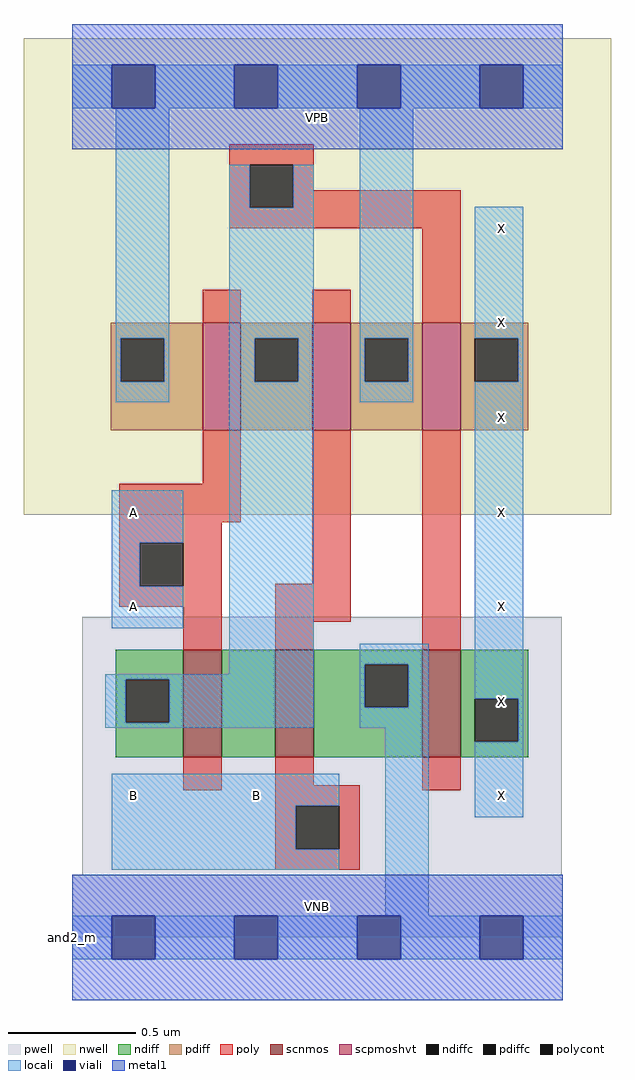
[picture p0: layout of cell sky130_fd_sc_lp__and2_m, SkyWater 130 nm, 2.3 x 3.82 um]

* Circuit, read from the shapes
.subckt sky130_fd_sc_lp__and2_m A B VGND VNB VPB VPWR X
XM1 n1 A n2 VNB sky130_fd_pr__nfet_01v8 w=0.42 l=0.15
XM2 VGND B n1 VNB sky130_fd_pr__nfet_01v8 w=0.42 l=0.15
XM3 X n2 VGND VNB sky130_fd_pr__nfet_01v8 w=0.42 l=0.15
XM4 n2 A VPWR VPB sky130_fd_pr__pfet_01v8_hvt w=0.42 l=0.15
XM5 VPWR B n2 VPB sky130_fd_pr__pfet_01v8_hvt w=0.42 l=0.15
XM6 X n2 VPWR VPB sky130_fd_pr__pfet_01v8_hvt w=0.42 l=0.15
.ends

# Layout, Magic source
magic
tech sky130A
magscale 1 2
<< nwell >>
rect -38 331 422 704
<< pwell >>
rect 8 49 383 251
rect 0 0 384 49
<< scnmos >>
rect 87 141 117 225
rect 159 141 189 225
rect 274 141 304 225
<< scpmoshvt >>
rect 102 397 132 481
rect 188 397 218 481
rect 274 397 304 481
<< ndiff >>
rect 34 202 87 225
rect 34 168 42 202
rect 76 168 87 202
rect 34 141 87 168
rect 117 141 159 225
rect 189 214 274 225
rect 189 180 229 214
rect 263 180 274 214
rect 189 141 274 180
rect 304 187 357 225
rect 304 153 315 187
rect 349 153 357 187
rect 304 141 357 153
<< pdiff >>
rect 30 469 102 481
rect 30 435 38 469
rect 72 435 102 469
rect 30 397 102 435
rect 132 469 188 481
rect 132 435 143 469
rect 177 435 188 469
rect 132 397 188 435
rect 218 469 274 481
rect 218 435 229 469
rect 263 435 274 469
rect 218 397 274 435
rect 304 469 357 481
rect 304 435 315 469
rect 349 435 357 469
rect 304 397 357 435
<< ndiffc >>
rect 42 168 76 202
rect 229 180 263 214
rect 315 153 349 187
<< pdiffc >>
rect 38 435 72 469
rect 143 435 177 469
rect 229 435 263 469
rect 315 435 349 469
<< poly >>
rect 123 605 189 621
rect 123 571 139 605
rect 173 585 189 605
rect 173 571 304 585
rect 123 555 304 571
rect 102 481 132 507
rect 188 481 218 507
rect 274 481 304 555
rect 102 355 132 397
rect 37 325 132 355
rect 37 309 117 325
rect 37 275 53 309
rect 87 275 117 309
rect 188 277 218 397
rect 37 259 117 275
rect 87 225 117 259
rect 159 247 218 277
rect 159 225 189 247
rect 274 225 304 397
rect 87 115 117 141
rect 159 119 189 141
rect 159 103 225 119
rect 274 115 304 141
rect 159 69 175 103
rect 209 69 225 103
rect 159 53 225 69
<< polycont >>
rect 139 571 173 605
rect 53 275 87 309
rect 175 69 209 103
<< locali >>
rect 0 649 31 683
rect 65 649 127 683
rect 161 649 223 683
rect 257 649 319 683
rect 353 649 384 683
rect 34 469 76 649
rect 34 435 38 469
rect 72 435 76 469
rect 34 419 76 435
rect 123 571 139 605
rect 173 571 189 605
rect 123 469 189 571
rect 123 435 143 469
rect 177 435 189 469
rect 31 309 87 350
rect 31 275 53 309
rect 31 242 87 275
rect 123 206 189 435
rect 225 469 267 649
rect 225 435 229 469
rect 263 435 267 469
rect 225 419 267 435
rect 315 469 353 572
rect 349 435 353 469
rect 26 202 189 206
rect 26 168 42 202
rect 76 168 189 202
rect 26 164 189 168
rect 225 214 279 230
rect 225 180 229 214
rect 263 180 279 214
rect 225 164 279 180
rect 31 103 209 128
rect 31 69 175 103
rect 31 53 209 69
rect 245 17 279 164
rect 315 187 353 435
rect 349 153 353 187
rect 315 94 353 153
rect 0 -17 31 17
rect 65 -17 127 17
rect 161 -17 223 17
rect 257 -17 319 17
rect 353 -17 384 17
<< viali >>
rect 31 649 65 683
rect 127 649 161 683
rect 223 649 257 683
rect 319 649 353 683
rect 31 -17 65 17
rect 127 -17 161 17
rect 223 -17 257 17
rect 319 -17 353 17
<< metal1 >>
rect 0 683 384 715
rect 0 649 31 683
rect 65 649 127 683
rect 161 649 223 683
rect 257 649 319 683
rect 353 649 384 683
rect 0 617 384 649
rect 0 17 384 49
rect 0 -17 31 17
rect 65 -17 127 17
rect 161 -17 223 17
rect 257 -17 319 17
rect 353 -17 384 17
rect 0 -49 384 -17
<< labels >>
flabel pwell s 0 0 384 49 0 FreeSans 200 0 0 0 VNB
port 4 nsew ground bidirectional
flabel nwell s 0 617 384 666 0 FreeSans 200 0 0 0 VPB
port 5 nsew power bidirectional
rlabel comment s 0 0 0 0 4 and2_m
flabel metal1 s 0 617 384 666 0 FreeSans 340 0 0 0 VPWR
port 6 nsew power bidirectional
flabel metal1 s 0 0 384 49 0 FreeSans 340 0 0 0 VGND
port 3 nsew ground bidirectional
flabel locali s 31 242 65 276 0 FreeSans 340 0 0 0 A
port 1 nsew signal input
flabel locali s 31 316 65 350 0 FreeSans 340 0 0 0 A
port 1 nsew signal input
flabel locali s 31 94 65 128 0 FreeSans 340 0 0 0 B
port 2 nsew signal input
flabel locali s 127 94 161 128 0 FreeSans 340 0 0 0 B
port 2 nsew signal input
flabel locali s 319 94 353 128 0 FreeSans 340 0 0 0 X
port 7 nsew signal output
flabel locali s 319 168 353 202 0 FreeSans 340 0 0 0 X
port 7 nsew signal output
flabel locali s 319 242 353 276 0 FreeSans 340 0 0 0 X
port 7 nsew signal output
flabel locali s 319 316 353 350 0 FreeSans 340 0 0 0 X
port 7 nsew signal output
flabel locali s 319 390 353 424 0 FreeSans 340 0 0 0 X
port 7 nsew signal output
flabel locali s 319 464 353 498 0 FreeSans 340 0 0 0 X
port 7 nsew signal output
flabel locali s 319 538 353 572 0 FreeSans 340 0 0 0 X
port 7 nsew signal output
<< properties >>
string LEFsite unit
string LEFclass CORE
string FIXED_BBOX 0 0 384 666
string GDS_FILE $PDKPATH/libs.ref/sky130_fd_sc_lp/gds/sky130_fd_sc_lp.gds
string LEFsymmetry X Y R90
string GDS_END 3549868
string GDS_START 3545030
<< end >>
